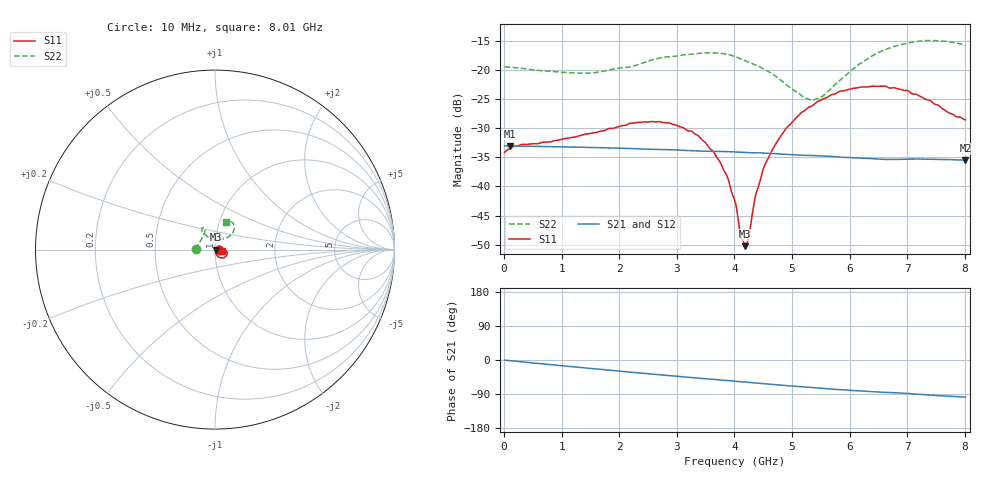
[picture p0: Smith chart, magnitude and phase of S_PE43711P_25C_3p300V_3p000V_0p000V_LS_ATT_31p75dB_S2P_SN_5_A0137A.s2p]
! Device ID: PE43711P
! File Path: z:\PE43711P\CHAR_NOM_04282014\AMB\3p300\LS_ATT_31p75dB\PE43711P_AMB_3p300V_3p000V_0p000V_LS_ATT_31p75dB_S2P_SN_5_A0137A.s2p
! Serial: 5
! Lot: A0137A
! Temp: 25C
! VDD: 3.300
! VSS: 0.000
! Control_Hi: 3.000
! Control_Lo: 0.000
! Attenuation Step: 31.75dB
! Port 1: RF1
! Port 2: RF2
! ThroughPath:1-2
! IDD: 0.0001281399
! ISS: -6.97e-008
#  Hz  S  RI  R  50
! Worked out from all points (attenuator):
!   801 points, 10 MHz to 8.01 GHz, reference 50 ohm
!   highest |S21| = -33.04 dB at 100 MHz (marker M1); lowest = -35.5 dB at 8.01 GHz (marker M2)
!   lowest |S11| = -50.3 dB at 4.19 GHz (marker M3), VSWR 1.01, Z = 50.3 - j0.0957 ohm
!   |S11| at or under -10 dB: start of sweep to end of sweep
!   |S22| runs from -25.2 to -14.9 dB; largest |S21 - S12| = 9e-05
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1e7  0.0196 0.000543  0.0223 -9.37e-05  0.0223 -6.24e-05  -0.1072 0.000881
1e8  0.0212 0.0018  0.0223 -0.000625  0.0223 -0.000605  -0.1057 0.00488
1.35e9  0.0266 0.00713  0.0204 -0.00744  0.0204 -0.00743  -0.0806 0.0482
2.68e9  0.032 0.0167  0.0163 -0.0129  0.0163 -0.0129  -0.059 0.1122
3.25e9  0.0235 0.0184  0.014 -0.0147  0.014 -0.0147  -0.0629 0.1216
3.49e9  0.0172 0.0167  0.0131 -0.0152  0.0131 -0.0152  -0.0676 0.1231
3.76e9  0.0102 0.0122  0.0121 -0.0159  0.0121 -0.0159  -0.0726 0.1189
3.88e9  0.00753 0.00936  0.0116 -0.0162  0.0116 -0.0162  -0.0738 0.1144
4.01e9  0.00521 0.0054  0.011 -0.0164  0.011 -0.0165  -0.0736 0.1079
4.11e9  0.00342 0.00153  0.0106 -0.0166  0.0106 -0.0166  -0.0713 0.1021
4.19e9  0.00292 -0.000952  0.0102 -0.0167  0.0102 -0.0167  -0.0687 0.0987
4.25e9  0.00221 -0.00302  0.01 -0.0168  0.00997 -0.0168  -0.0664 0.0964
4.38e9  0.00174 -0.00868  0.00947 -0.017  0.00947 -0.017  -0.0617 0.091
4.55e9  0.00279 -0.0159  0.00871 -0.0172  0.00869 -0.0172  -0.0543 0.0838
4.9e9  0.00871 -0.0305  0.00721 -0.0174  0.0072 -0.0175  -0.0329 0.0673
5.35e9  0.0243 -0.043  0.00552 -0.0176  0.00556 -0.0176  0.00569 0.0546
5.53e9  0.0324 -0.0459  0.00481 -0.0176  0.00482 -0.0177  0.0241 0.0545
5.85e9  0.0478 -0.0455  0.00358 -0.0175  0.0036 -0.0175  0.0558 0.0622
6.26e9  0.0615 -0.0367  0.0023 -0.0173  0.00231 -0.0173  0.0883 0.082
6.68e9  0.0673 -0.0215  0.0013 -0.017  0.0013 -0.017  0.1059 0.112
7.34e9  0.0554 -0.00454  -0.000575 -0.0171  -0.000544 -0.0172  0.0966 0.1511
8.01e9  0.0368 -0.00648  -0.00229 -0.0167  -0.00234 -0.0167  0.059 0.1529
